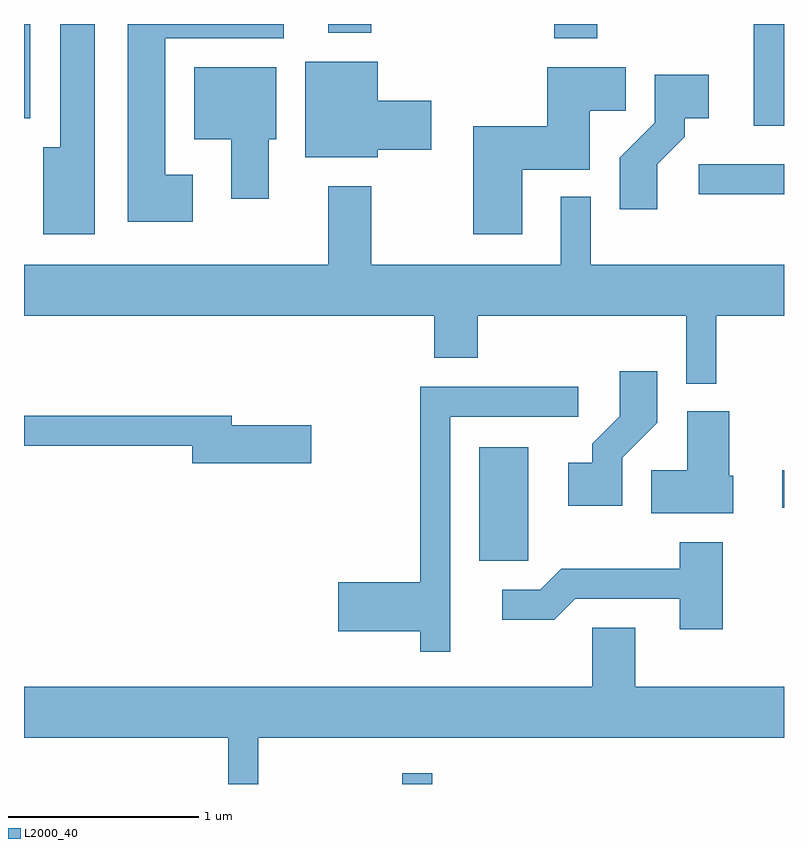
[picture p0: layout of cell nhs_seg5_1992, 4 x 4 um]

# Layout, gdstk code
import gdstk
lib = gdstk.Library(unit=1e-6, precision=1e-09)
def R(c, l, rs):  # rectangles x0, y0, x1, y1
    for r in rs: c.add(gdstk.rectangle(r[:2], r[2:], *l))
def P(c, l, *ps):  # polygons
    for p in ps: c.add(gdstk.Polygon(p, *l))
L2000_40 = (2000, 40)

nhs_seg5_1992 = lib.new_cell('nhs_seg5_1992')
R(nhs_seg5_1992, L2000_40, [(245.601,1492.072,245.759,1492.128), (246.006,1493.246,246.264,1493.844), (247.601,1493.526,247.611,1493.724), (247.163,1495.176,247.611,1495.334), (247.451,1495.536,247.611,1496.072), (243.611,1495.576,243.644,1496.072), (246.401,1495.996,246.629,1496.072), (245.211,1496.026,245.439,1496.072)])
P(nhs_seg5_1992, L2000_40, [(243.984,1496.072),(243.801,1496.072),(243.801,1495.424),(243.711,1495.424),(243.711,1494.966),(243.984,1494.966)],
  [(244.499,1495.279),(244.354,1495.279),(244.354,1495.996),(244.979,1495.996),(244.979,1496.072),(244.156,1496.072),(244.156,1495.031),(244.499,1495.031)],
  [(245.474,1495.411),(245.754,1495.411),(245.754,1495.669),(245.474,1495.669),(245.474,1495.874),(245.091,1495.874),(245.091,1495.371),(245.474,1495.371)],
  [(246.234,1495.306),(246.589,1495.306),(246.589,1495.616),(246.779,1495.616),(246.779,1495.844),(246.366,1495.844),(246.366,1495.534),(245.976,1495.534),(245.976,1494.966),(246.234,1494.966)],
  [(244.899,1495.466),(244.939,1495.466),(244.939,1495.844),(244.506,1495.844),(244.506,1495.466),(244.701,1495.466),(244.701,1495.151),(244.899,1495.151)],
  [(246.944,1495.334),(247.089,1495.479),(247.089,1495.576),(247.214,1495.576),(247.214,1495.804),(246.931,1495.804),(246.931,1495.552),(246.746,1495.367),(246.746,1495.096),(246.944,1495.096)],
  [(247.254,1494.536),(247.611,1494.536),(247.611,1494.804),(246.594,1494.804),(246.594,1495.163),(246.436,1495.163),(246.436,1494.804),(245.439,1494.804),(245.439,1495.219),(245.211,1495.219),(245.211,1494.804),(243.611,1494.804),(243.611,1494.536),(245.771,1494.536),(245.771,1494.316),(245.999,1494.316),(245.999,1494.536),(247.096,1494.536),(247.096,1494.178),(247.254,1494.178)],
  [(246.759,1493.789),(246.944,1493.974),(246.944,1494.244),(246.746,1494.244),(246.746,1494.007),(246.601,1493.862),(246.601,1493.764),(246.476,1493.764),(246.476,1493.536),(246.759,1493.536)],
  [(245.854,1494.006),(246.528,1494.006),(246.528,1494.164),(245.696,1494.164),(245.696,1493.134),(245.266,1493.134),(245.266,1492.876),(245.696,1492.876),(245.696,1492.768),(245.854,1492.768)],
  [(247.344,1493.694),(247.324,1493.694),(247.324,1494.034),(247.101,1494.034),(247.101,1493.724),(246.911,1493.724),(246.911,1493.496),(247.344,1493.496)],
  [(245.124,1493.959),(244.704,1493.959),(244.704,1494.009),(243.611,1494.009),(243.611,1493.851),(244.496,1493.851),(244.496,1493.761),(245.124,1493.761)],
  [(247.289,1493.344),(247.061,1493.344),(247.061,1493.204),(246.439,1493.204),(246.329,1493.094),(246.128,1493.094),(246.128,1492.936),(246.402,1492.936),(246.512,1493.046),(247.061,1493.046),(247.061,1492.886),(247.289,1492.886)],
  [(244.844,1492.316),(247.611,1492.316),(247.611,1492.584),(246.829,1492.584),(246.829,1492.894),(246.601,1492.894),(246.601,1492.584),(243.611,1492.584),(243.611,1492.316),(244.686,1492.316),(244.686,1492.072),(244.844,1492.072)])

lib.write_gds('nhs_seg5_1992.gds')
